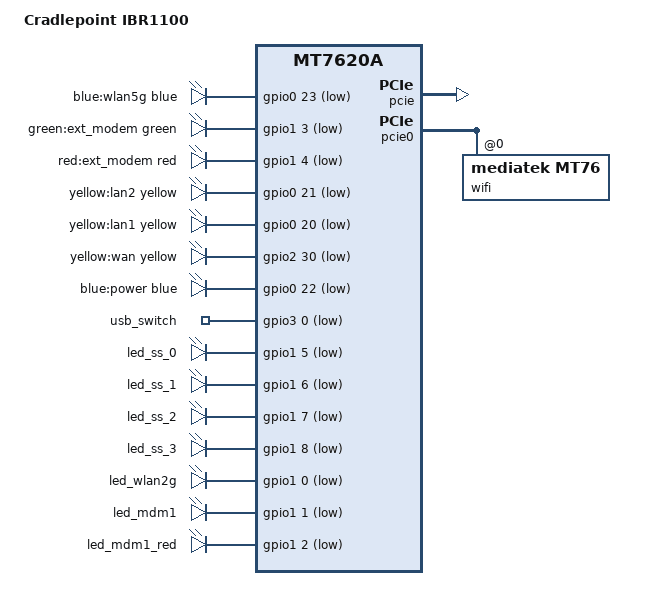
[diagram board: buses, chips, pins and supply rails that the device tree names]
#include "mt7620a_cradlepoint_ibr-b.dtsi"

#include <dt-bindings/gpio/gpio.h>
#include <dt-bindings/input/input.h>
#include <dt-bindings/leds/common.h>

/ {
	compatible = "cradlepoint,ibr1100";
	model = "Cradlepoint IBR1100";

	chosen {
		bootargs-append = " ubi.mtd=Filesystem";
	};

	leds {
		compatible = "gpio-leds";

		led_wlan5g: wlan5g {
			function = LED_FUNCTION_WLAN;
			color = <LED_COLOR_ID_BLUE>;
			gpios = <&gpio0 23 GPIO_ACTIVE_LOW>;
			label = "blue:wlan5g";
			linux,default-trigger = "phy0radio";
		};

		led_mdm2: mdm2 {
			function = LED_FUNCTION_STATUS;
			color = <LED_COLOR_ID_GREEN>;
			gpios = <&gpio1 3 GPIO_ACTIVE_LOW>;
			label = "green:ext_modem";
		};

		led_mdm2_red: mdm2_red {
			function = LED_FUNCTION_STATUS;
			color = <LED_COLOR_ID_RED>;
			gpios = <&gpio1 4 GPIO_ACTIVE_LOW>;
			label = "red:ext_modem";
		};

		led_lan2_y: lan2_yellow {
			function = LED_FUNCTION_STATUS;
			color = <LED_COLOR_ID_YELLOW>;
			gpios = <&gpio0 21 GPIO_ACTIVE_LOW>;
			label = "yellow:lan2";
		};

		led_lan_y: lan_yellow {
			function = LED_FUNCTION_STATUS;
			color = <LED_COLOR_ID_YELLOW>;
			gpios = <&gpio0 20 GPIO_ACTIVE_LOW>;
			label = "yellow:lan1";
		};

		led_wan_y: wan_yellow {
			function = LED_FUNCTION_STATUS;
			color = <LED_COLOR_ID_YELLOW>;
			gpios = <&gpio2 30 GPIO_ACTIVE_LOW>;
			label = "yellow:wan";
		};

		led_power: power {
			function = LED_FUNCTION_POWER;
			color = <LED_COLOR_ID_BLUE>;
			gpios = <&gpio0 22 GPIO_ACTIVE_LOW>;
			label = "blue:power";
		};
	};

	gpio_export {
		compatible = "gpio-export";

		usb_switch {
			gpio-export,name = "usb_switch";
			gpio-export,output = <0>;
			gpio-export,direction_may_change = <0>;
			gpios = <&gpio3 0 GPIO_ACTIVE_LOW>;
		};
	};
};

&state_default {
	default {
		groups = "pa";
		function = "gpio";
	};
};

&ethernet {
	nvmem-cells = <&macaddr_factory_28>;
	nvmem-cell-names = "mac-address";
	mediatek,portmap = "llwll";
};

&pcie {
	status = "okay";
};

&uart {
	/* status = "okay"; */
};

&pcie0 {
	wifi@0,0 {
		compatible = "mediatek,mt76";
		reg = <0x0000 0 0 0 0>;
		ieee80211-freq-limit = <5000000 6000000>;
		nvmem-cells = <&eeprom_factory_8000>;
		nvmem-cell-names = "eeprom", "mac-address";
	};
};

&led_ss_0 {
	gpios = <&gpio1 5 GPIO_ACTIVE_LOW>;
};

&led_ss_1 {
	gpios = <&gpio1 6 GPIO_ACTIVE_LOW>;
};

&led_ss_2 {
	gpios = <&gpio1 7 GPIO_ACTIVE_LOW>;
};

&led_ss_3 {
	gpios = <&gpio1 8 GPIO_ACTIVE_LOW>;
};

&led_wlan2g {
	gpios = <&gpio1 0 GPIO_ACTIVE_LOW>;
};

&led_mdm1 {
	gpios = <&gpio1 1 GPIO_ACTIVE_LOW>;
};

&led_mdm1_red {
	gpios = <&gpio1 2 GPIO_ACTIVE_LOW>;
};
